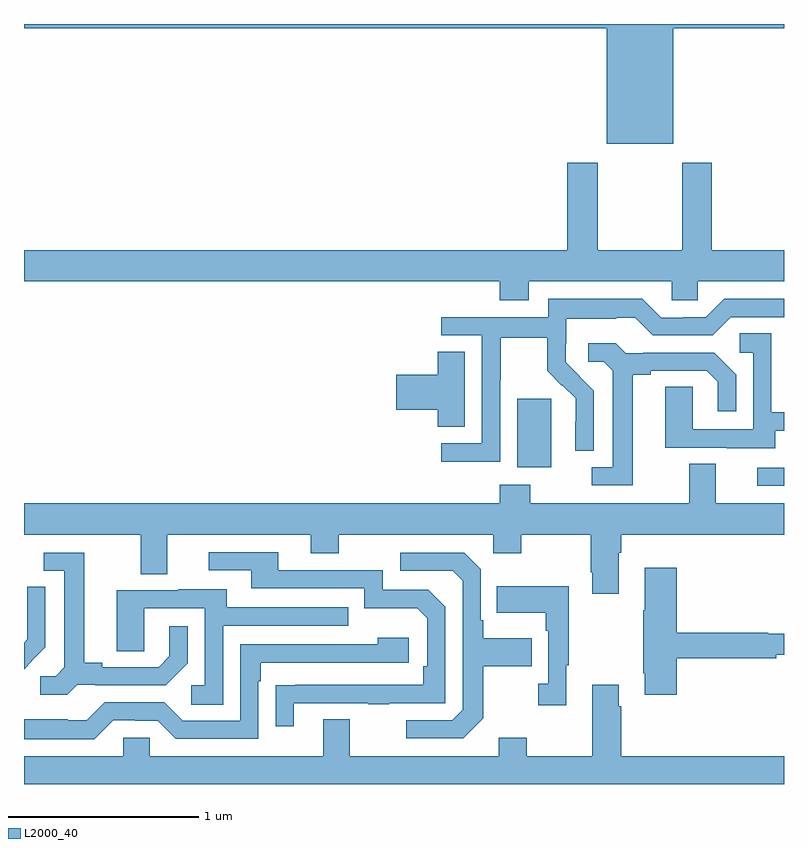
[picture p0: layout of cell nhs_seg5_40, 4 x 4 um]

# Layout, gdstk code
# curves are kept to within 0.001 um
import gdstk
lib = gdstk.Library(unit=1e-6, precision=1e-09)
def R(c, l, rs):  # rectangles x0, y0, x1, y1
    for r in rs: c.add(gdstk.rectangle(r[:2], r[2:], *l))
def P(c, l, *ps):  # polygons
    for p in ps: c.add(gdstk.Polygon(p, *l))
L2000_40 = (2000, 40)

nhs_seg5_40 = lib.new_cell('nhs_seg5_40')
R(nhs_seg5_40, L2000_40, [(116.859,838.368,117,838.464), (115.595,838.466,115.774,838.827)])
P(nhs_seg5_40, L2000_40, [(116.416,840.776),(117,840.776),(117,840.799),(113,840.799),(113,840.776),(116.066,840.776),(116.066,840.17),(116.416,840.17)],
  [(115.657,839.444),(116.409,839.444),(116.409,839.346),(116.547,839.346),(116.547,839.444),(117,839.444),(117,839.608),(116.619,839.608),(116.619,840.07),(116.464,840.07),(116.464,839.608),(116.019,839.608),(116.019,840.07),(115.859,840.07),(115.859,839.608),(113,839.608),(113,839.444),(115.505,839.444),(115.505,839.345),(115.657,839.345)],
  [(115.506,838.924),(115.509,838.924),(115.509,839.148),(115.753,839.148),(115.753,838.973),(115.83,838.896),(115.833,838.899),(115.904,838.829),(115.904,838.706),(115.902,838.706),(115.902,838.552),(115.998,838.552),(115.998,838.87),(115.852,839.018),(115.852,839.115),(115.854,839.115),(115.854,839.249),(116.117,839.249),(116.117,839.253),(116.217,839.253),(116.31,839.16),(116.625,839.16),(116.721,839.256),(117,839.256),(117,839.352),(116.685,839.352),(116.589,839.256),(116.471,839.256),(116.471,839.253),(116.355,839.253),(116.255,839.353),(115.758,839.353),(115.758,839.256),(115.197,839.256),(115.197,839.16),(115.41,839.16),(115.41,838.593),(115.197,838.593),(115.197,838.495),(115.506,838.495)],
  [(116.953,838.659),(117,838.659),(117,838.755),(116.934,838.755),(116.934,839.171),(116.766,839.171),(116.766,839.07),(116.838,839.07),(116.838,838.665),(116.52,838.665),(116.52,838.889),(116.375,838.889),(116.375,838.569),(116.699,838.569),(116.699,838.565),(116.953,838.565)],
  [(116.203,838.952),(116.299,838.952),(116.299,838.974),(116.594,838.974),(116.651,838.917),(116.651,838.761),(116.748,838.761),(116.748,838.954),(116.632,839.07),(116.26,839.07),(116.26,839.067),(116.166,839.067),(116.114,839.119),(115.971,839.119),(115.971,839.022),(116.052,839.022),(116.099,838.975),(116.099,838.467),(115.989,838.467),(115.989,838.371),(116.203,838.371)],
  [(115.321,839.075),(115.178,839.075),(115.178,838.952),(114.96,838.952),(114.96,838.769),(115.178,838.769),(115.178,838.678),(115.321,838.678)],
  [(116.131,838.016),(116.144,838.016),(116.144,838.112),(117,838.112),(117,838.276),(116.641,838.276),(116.641,838.484),(116.501,838.484),(116.501,838.276),(115.665,838.276),(115.665,838.375),(115.505,838.375),(115.505,838.276),(113,838.276),(113,838.112),(113.615,838.112),(113.615,837.904),(113.755,837.904),(113.755,838.112),(114.509,838.112),(114.509,838.013),(114.657,838.013),(114.657,838.112),(115.47,838.112),(115.47,838.013),(115.617,838.013),(115.617,838.112),(115.984,838.112),(115.984,837.913),(115.991,837.913),(115.991,837.801),(116.131,837.801)],
  [(114.421,837.225),(114.811,837.225),(114.811,837.22),(114.923,837.22),(114.923,837.225),(115.218,837.225),(115.218,837.732),(115.128,837.822),(114.888,837.822),(114.888,837.924),(114.337,837.924),(114.337,838.02),(113.973,838.02),(113.973,837.924),(114.197,837.924),(114.197,837.828),(114.792,837.828),(114.792,837.725),(115.069,837.725),(115.122,837.672),(115.122,837.418),(115.102,837.418),(115.102,837.321),(114.325,837.32),(114.325,837.102),(114.421,837.102)],
  [(115.417,837.145),(115.417,837.418),(115.673,837.418),(115.673,837.565),(115.417,837.565),(115.417,837.661),(115.404,837.661),(115.404,837.93),(115.317,838.017),(114.981,838.017),(114.981,837.921),(115.257,837.921),(115.308,837.87),(115.308,837.189),(115.254,837.135),(115.011,837.135),(115.011,837.039),(115.311,837.039)],
  [(113.28,837.321),(113.374,837.321),(113.374,837.318),(113.746,837.318),(113.862,837.434),(113.862,837.628),(113.765,837.628),(113.765,837.471),(113.708,837.414),(113.413,837.414),(113.413,837.437),(113.317,837.437),(113.317,838.017),(113.103,838.017),(113.103,837.921),(113.213,837.921),(113.213,837.413),(113.166,837.366),(113.085,837.366),(113.085,837.269),(113.228,837.269)],
  [(116.435,837.46),(116.96,837.46),(116.96,837.479),(117,837.479),(117,837.589),(116.918,837.589),(116.918,837.596),(116.435,837.596),(116.435,837.937),(116.267,837.937),(116.267,837.713),(116.26,837.713),(116.26,837.382),(116.267,837.382),(116.267,837.27),(116.435,837.27)],
  [(115.855,837.425),(115.867,837.425),(115.867,837.841),(115.489,837.841),(115.489,837.701),(115.746,837.701),(115.746,837.605),(115.758,837.605),(115.758,837.326),(115.707,837.326),(115.707,837.213),(115.855,837.213)],
  [(113.04,837.444),(113.039,837.445),(113.112,837.518),(113.112,837.836),(113.016,837.836),(113.016,837.682),(113.018,837.682),(113.018,837.56),(113,837.542),(113,837.404)],
  [(114.048,837.633),(114.707,837.633),(114.707,837.729),(114.067,837.729),(114.067,837.823),(113.813,837.823),(113.813,837.819),(113.489,837.819),(113.489,837.499),(113.634,837.499),(113.634,837.723),(113.952,837.723),(113.952,837.318),(113.88,837.318),(113.88,837.217),(114.048,837.217)],
  [(113.469,837.135),(113.585,837.135),(113.585,837.132),(113.703,837.132),(113.799,837.036),(114.234,837.036),(114.234,837.341),(114.247,837.341),(114.247,837.438),(115.024,837.438),(115.024,837.568),(114.863,837.568),(114.863,837.534),(114.138,837.534),(114.138,837.132),(113.835,837.132),(113.739,837.228),(113.424,837.228),(113.331,837.135),(113.231,837.135),(113.231,837.139),(113,837.139),(113,837.035),(113.369,837.035)],
  [(117,836.944),(116.144,836.944),(116.144,837.209),(116.131,837.209),(116.131,837.322),(115.991,837.322),(115.991,836.944),(115.647,836.944),(115.647,837.043),(115.499,837.043),(115.499,836.944),(114.715,836.944),(114.715,837.139),(114.575,837.139),(114.575,836.944),(113.661,836.944),(113.661,837.042),(113.523,837.042),(113.523,836.944),(113,836.944),(113,836.799),(117,836.799)])

lib.write_gds('nhs_seg5_40.gds')
